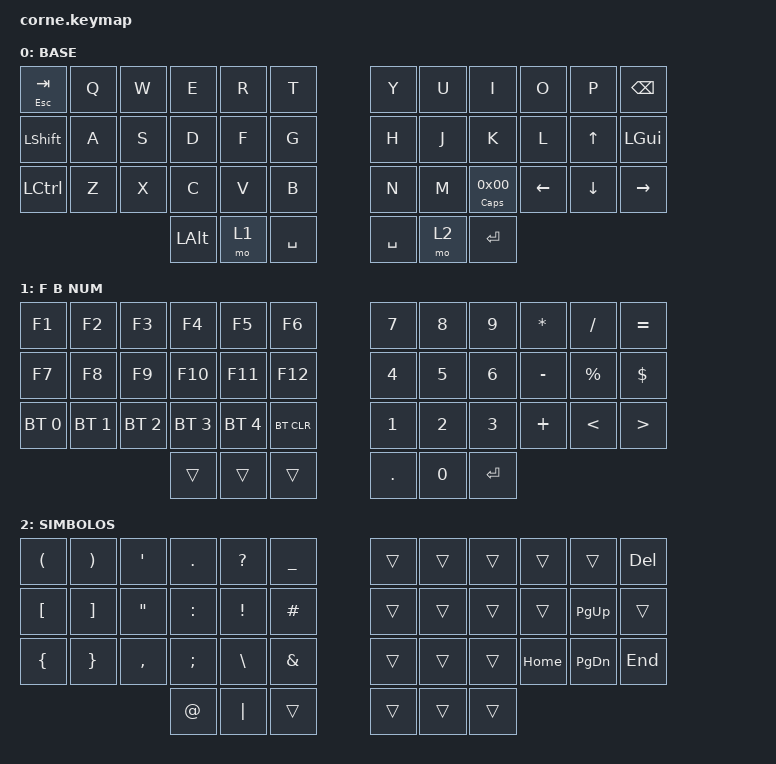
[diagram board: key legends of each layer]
/*
 * Copyright (c) 2020 The ZMK Contributors 
 *
 * SPDX-License-Identifier: MIT
 */

#include <behaviors.dtsi>
#include <dt-bindings/zmk/keys.h>
#include <dt-bindings/zmk/bt.h>

/ {
        behaviors {
                my_ht: my_hold_tap {
                compatible = "zmk,behavior-hold-tap";
                #binding-cells = <2>;
                flavor = "hold-preferred";
                tapping-term-ms = <1000>;
                bindings = <&kp>, <&kp>;
                };
        };

        keymap {
                compatible = "zmk,keymap";

                default_layer {
                        display-name = "BASE";
// -----------------------------------------------------------------------------------------
// | TAB ESC |  Q  |  W  |  E  |  R   |  T  | | |  Y  |  U   |  I   |  O  | P   | BSPC |
// | SHIF    |  A  |  S  |  D  |  F   |  G  | | |  H  |  J   |  K   |  L  | UP  | WIN  |
// | CTRL    |  Z  |  X  |  C  |  V   |  B  | | |  N  |  M   | MAYU | LFT | DWN | RGT  |
//                       | ALT | LNUM | SPC | | | SPC | RSIM | ENT  |
                        bindings = <
   &my_ht ESC TAB &kp Q &kp W &kp E    &kp R &kp T      &kp Y     &kp U &kp I                     &kp O    &kp P    &kp BSPC
   &kp LSHFT      &kp A &kp S &kp D    &kp F &kp G      &kp H     &kp J &kp K                     &kp L    &kp UP   &kp LGUI
   &kp LCTRL      &kp Z &kp X &kp C    &kp V &kp B      &kp N     &kp M &my_ht CAPS 0x00  &kp LEFT &kp DOWN &kp RIGHT
                              &kp LALT &mo 1 &kp SPACE  &kp SPACE &mo 2 &kp RET
                        >;
                };
                lower_layer {
                        display-name = "F  B  NUM";
// -----------------------------------------------------------------------------------------
// | F1  | F2  | F3  | F4  | F5  | F6    | | |  7  |  8  |  9  |  *  |  /  |  =  |
// | F7  | F8  | F9  | F10 | F11 | F12   | | |  4  |  5  |  6  |  -  |  %  |  $  |
// | BT1 | BT2 | BT3 | BT4 | BT5 | BTCLR | | |  1  |  2  |  3  |  +  |  <  |  >  |
//                   |     |     |       | | |  .  |  0  | ENT |
                        bindings = <
   &kp F1       &kp F2       &kp F3       &kp F4       &kp F5        &kp F6            &kp N7  &kp N8 &kp N9  &kp ASTRK  &kp FSLH  &kp EQUAL
   &kp F7       &kp F8       &kp F9       &kp F10      &kp F11       &kp F12           &kp N4  &kp N5 &kp N6  &kp MINUS  &kp PRCNT &kp DLLR
   &bt BT_SEL 0 &bt BT_SEL 1 &bt BT_SEL 2 &bt BT_SEL 3 &bt BT_SEL 4  &bt BT_CLR        &kp N1  &kp N2 &kp N3  &kp PLUS   &kp LT    &kp GT
                                                       &trans        &trans &trans     &kp DOT &kp N0 &kp RET
                        >;
                };

                raise_layer {
                        display-name = "SIMBOLOS";
// -----------------------------------------------------------------------------------------
// |  (  |  )  |  '  |  .  |  ?  |  _  | | |      |     |      |      |      | DEL |
// |  [  |  ]  |  "  |  :  |  !  |  #  | | |      |     |      |      | PGUP |     |
// |  {  |  }  |  ,  |  ;  |  \  |  &  | | |      |     |      | HOME | PGDN | END |
//                   |  @  | "|" |     | | |      |     |      |
                        bindings = <
   &kp LPAR &kp RPAR &kp SQT   &kp DOT   &kp QMARK &kp UNDER   &trans &trans &trans &trans   &trans    &kp DEL
   &kp LBKT &kp RBKT &kp DQT   &kp COLON &kp EXCL  &kp HASH    &trans &trans &trans &trans   &kp PG_UP &trans
   &kp LBRC &kp RBRC &kp COMMA &kp SEMI  &kp BSLH  &kp AMPS    &trans &trans &trans &kp HOME &kp PG_DN &kp END
                               &kp AT    &kp PIPE  &trans      &trans &trans &trans
                        >;
                };
        };
};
